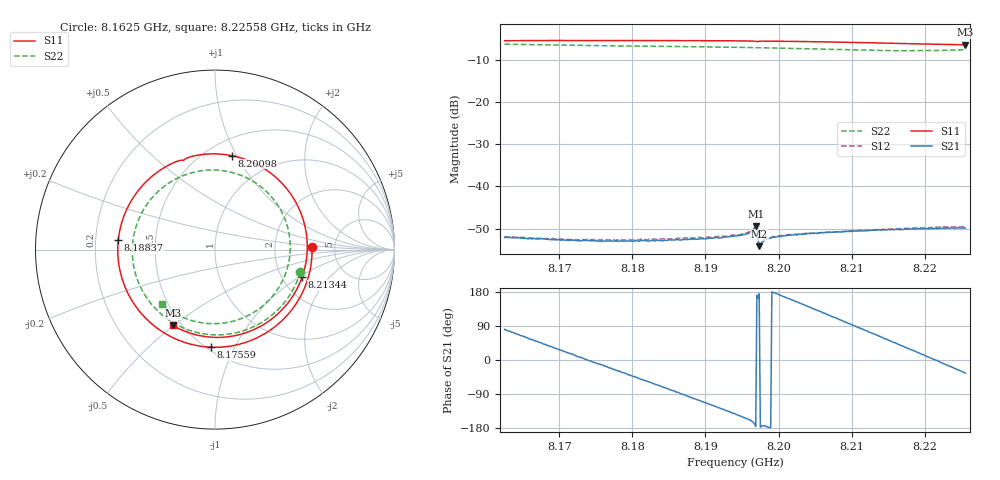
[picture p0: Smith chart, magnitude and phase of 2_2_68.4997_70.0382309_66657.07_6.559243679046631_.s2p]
#  HZ  S  RI  R  50.00
! Rohde & Schwarz Vector Network Analyzer
! Rohde-Schwarz,ZNB20-2Port,1311601062101988,3.16
! Created: UTC 3/20/2024, 5:03:48 PM
! freq[Hz]  re:S11  im:S11  re:S21  im:S21  re:S12  im:S12  re:S22  im:S22
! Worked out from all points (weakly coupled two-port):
!   401 points, 8.1625 GHz to 8.22558 GHz, reference 50 ohm
!   highest |S21| = -49.46 dB at 8.19688 GHz (marker M1); lowest = -54.2 dB at 8.19735 GHz (marker M2)
!   lowest |S11| = -6.3 dB at 8.22558 GHz (marker M3), VSWR 2.87, Z = 22.5 - j24.8 ohm
!   |S11| at or under -10 dB: nowhere
!   |S22| runs from -7.7 to -6.2 dB; largest |S21 - S12| = 0.00021
!   S11 on the Smith chart (normalised r, x): 8.1625 GHz: 3.35, +0.11; 8.17559 GHz: 0.53, -0.81; 8.18837 GHz: 0.30, +0.05; 8.20098 GHz: 0.65, +0.95; 8.21344 GHz: 2.57, -1.06; 8.22558 GHz: 0.45, -0.50
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8.162505e9  0.5405 0.0117  0.000399 0.00245  0.000397 0.00249  0.4756 -0.1225
8.167393e9  0.453 -0.3004  0.00167 0.00171  0.00165 0.00175  0.3206 -0.3623
8.17307e9  0.149 -0.5236  0.00225 0.000223  0.00233 0.000229  0.0182 -0.4753
8.175593e9  -0.0216 -0.544  0.00217 -0.000431  0.00225 -0.000479  -0.1239 -0.4557
8.179378e9  -0.2693 -0.4725  0.00174 -0.0014  0.00183 -0.00145  -0.3091 -0.3514
8.183635e9  -0.4738 -0.2651  0.000893 -0.00211  0.000882 -0.00219  -0.4374 -0.1536
8.188366e9  -0.5389 0.0533  -0.000475 -0.00231  -0.000523 -0.00238  -0.4464 0.106
8.191047e9  -0.4876 0.2329  -0.00124 -0.0021  -0.00135 -0.00213  -0.3861 0.2419
8.194043e9  -0.361 0.3995  -0.00205 -0.00159  -0.00212 -0.00157  -0.2706 0.3616
8.196882e9  -0.1856 0.4983  -0.00335 -0.000267  -0.00342 -0.000129  -0.1269 0.4286
8.197355e9  -0.1629 0.5068  -0.00194 0.000178  -0.00197 0.000229  -0.1011 0.4348
8.19767e9  -0.1409 0.5157  -0.00209 -0.000203  -0.00215 -0.000149  -0.0835 0.438
8.198774e9  -0.0628 0.5306  -0.00241 -8.29e-05  -0.00249 3.61e-05  -0.0212 0.4434
8.200982e9  0.0928 0.5237  -0.00252 0.00065  -0.00253 0.000776  0.1033 0.4273
8.204608e9  0.323 0.4161  -0.00201 0.00191  -0.00198 0.00196  0.284 0.3259
8.209182e9  0.4971 0.1475  -0.000492 0.00287  -0.00044 0.0029  0.412 0.0922
8.213439e9  0.4855 -0.1529  0.00126 0.00276  0.00135 0.00276  0.3811 -0.1631
8.215174e9  0.4301 -0.2644  0.0019 0.00239  0.00199 0.00238  0.3237 -0.2555
8.218012e9  0.2856 -0.4081  0.00276 0.00147  0.00287 0.00141  0.1823 -0.3683
8.220535e9  0.1179 -0.4782  0.00312 0.00044  0.0032 0.000344  0.0229 -0.4116
8.222901e9  -0.0523 -0.4851  0.00311 -0.000675  0.0032 -0.000814  -0.1339 -0.394
8.225581e9  -0.235 -0.4226  0.00264 -0.00182  0.00268 -0.002  -0.2928 -0.3052
